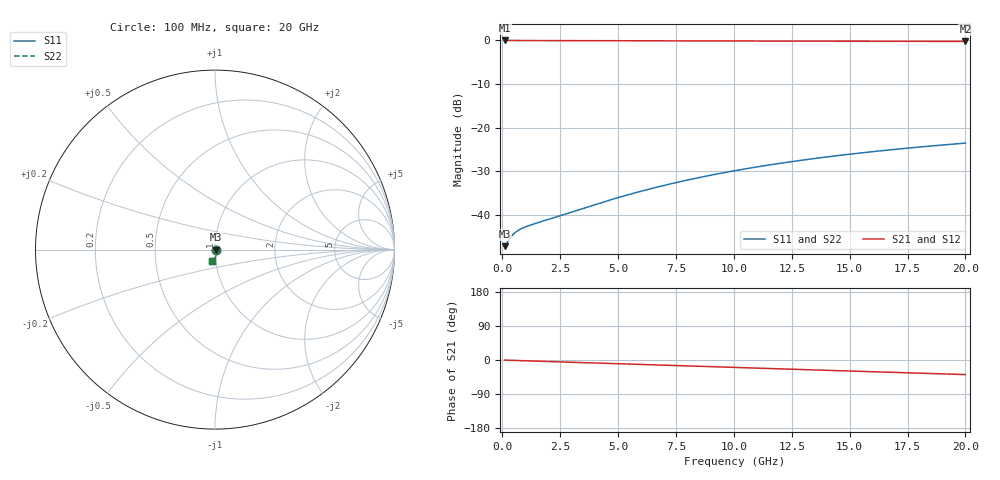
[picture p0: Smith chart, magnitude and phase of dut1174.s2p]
! Touchstone file exported from HFSS 2026.1.0
!  File:  C:/ffzhzh/LocalFiles/Ansys_Project_Files/temp_train_TMRDL_1174_1783162526_55132.aedt
!  Generated:  06:56:36 PM Jul  4, 2026
!  Design:  TMRDL
!  Project:  temp_train_TMRDL_1174_1783162526_55132
! Variables:
!  h_bsmrdl = 2um
!  h_ox = 20um
!  h_rdl = 5um
!  h_sub = 80um
!  h_tmrdl = 3.48um
!  h_tsv = 80um
!  h_via = 3um
!  l_bsmrdl = 300um
!  l_sub = 1090.26um
!  l_tmrdl = 690.26um
!  m_sub = 200um
!  pitch = 19.64um
!  r_tsv = 6um
!  s_tmrdl = 10um
!  w_bsmrdl = 18um
!  w_sub = 500um
!  w_tmrdl = 16.92um
!  x_tsv_center1 = 698.72um
!  x_tsv_center2 = 1016.72um
!  x_tsv_center3 = 1723.9um
!  x_tsv_center4 = 2041.9um
!  x_tsv_center5 = 2749.08um
!  x_tsv_center6 = 3067.08um
# GHz S MA R 50.000000
! Terminal data exported
! Port[1] = TM_RDL1_1_T1
! Port[2] = TM_RDL1_1_T2
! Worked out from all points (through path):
!   200 points, 100 MHz to 20 GHz, reference 50 ohm
!   highest |S21| = -0.04 dB at 100 MHz (marker M1); lowest = -0.3 dB at 20 GHz (marker M2)
!   group delay of S21, straight-line fit = 5.32 ps
!   lowest |S11| = -47.1 dB at 100 MHz (marker M3), VSWR 1.01, Z = 50.4 + j0.0476 ohm
!   |S11| at or under -10 dB: start of sweep to end of sweep
!   |S22| runs from -47.1 to -23.6 dB; largest |S21 - S12| = 2.1e-15
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0.1  0.004392 6.2  0.9956 -0.2  0.9956 -0.2  0.004392 6.2
! Gamma 0 0 0 0
! Port Impedance 50 0 50 0
0.3  0.005268 10.3  0.9948 -0.7  0.9948 -0.7  0.005267 10.3
0.4  0.005719 9.1  0.9944 -0.9  0.9944 -0.9  0.005718 9.1
0.5  0.006106 6.9  0.994 -1.1  0.994 -1.1  0.006105 6.9
0.6  0.006428 4.3  0.9936 -1.3  0.9936 -1.3  0.006427 4.3
0.8  0.006926 -1.0  0.9931 -1.7  0.9931 -1.7  0.006924 -1.0
1  0.007308 -6.0  0.9927 -2.1  0.9927 -2.1  0.007305 -6.0
1.3  0.007794 -12.6  0.9923 -2.7  0.9923 -2.7  0.007789 -12.6
3.5  0.01193 -42.5  0.9903 -7.0  0.9903 -7.0  0.01189 -42.7
4.4  0.01416 -49.8  0.9893 -8.8  0.9893 -8.8  0.01411 -50.0
5.2  0.01636 -55.0  0.9883 -10.4  0.9883 -10.4  0.01628 -55.3
6  0.01871 -59.5  0.9872 -11.9  0.9872 -11.9  0.01862 -59.8
6.8  0.0212 -63.5  0.9862 -13.5  0.9862 -13.5  0.02109 -63.8
7.6  0.02379 -67.1  0.9851 -15.0  0.9851 -15.0  0.02366 -67.5
8.4  0.02647 -70.4  0.984 -16.5  0.984 -16.5  0.02631 -70.9
10.1  0.03233 -76.8  0.9818 -19.8  0.9818 -19.8  0.03213 -77.4
11.7  0.03798 -82.2  0.9798 -22.8  0.9798 -22.8  0.03772 -82.9
13.4  0.044 -87.5  0.9777 -26.1  0.9777 -26.1  0.04369 -88.3
15  0.04963 -92.2  0.9758 -29.1  0.9758 -29.1  0.04926 -93.1
16.7  0.05551 -96.9  0.9739 -32.3  0.9739 -32.3  0.05509 -97.9
18.3  0.06091 -101.1  0.9722 -35.3  0.9722 -35.3  0.06043 -102.2
20  0.06647 -105.4  0.9704 -38.5  0.9704 -38.5  0.06593 -106.6
